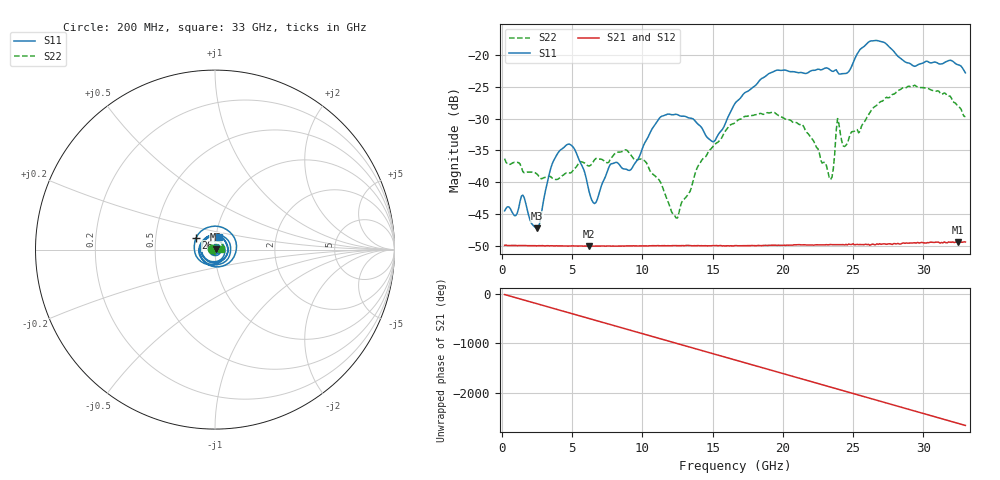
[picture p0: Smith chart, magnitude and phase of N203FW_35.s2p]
# GHZ S RI R 50
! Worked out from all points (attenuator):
!   329 points, 200 MHz to 33 GHz, reference 50 ohm
!   highest |S21| = -49.41 dB at 32.5 GHz (marker M1); lowest = -50.1 dB at 6.2 GHz (marker M2)
!   lowest |S11| = -47.3 dB at 2.5 GHz (marker M3), VSWR 1.01, Z = 50.4 + j0.235 ohm
!   |S11| at or under -10 dB: start of sweep to end of sweep
!   |S22| runs from -45.7 to -24.7 dB; largest |S21 - S12| = 8.8e-05
!   S11 on the Smith chart (normalised r, x): 200 MHz: 1.01, +0.00; 26 GHz: 0.80, +0.11; 33 GHz: 1.03, +0.14
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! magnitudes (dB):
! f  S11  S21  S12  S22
! 200 MHz  -44.5  -50.0  -49.9  -36.3
! 1.5 GHz  -42.1  -50.0  -50.0  -38.3
! 2.5 GHz  -47.3  -50.0  -50.0  -38.7
! 4 GHz  -35.4  -50.1  -50.0  -39.5
! 5.7 GHz  -37.4  -50.1  -50.1  -36.8
! 6.2 GHz  -41.4  -50.1  -50.1  -37.5
! 6.6 GHz  -43.4  -50.1  -50.1  -36.5
! 7.7 GHz  -37.3  -50.1  -50.1  -36.5
! 8.8 GHz  -37.9  -50.1  -50.1  -34.9
! 11.2 GHz  -30.0  -50.0  -50.0  -39.7
! 12.5 GHz  -29.4  -50.0  -50.0  -45.7
! 15.1 GHz  -33.6  -50.0  -50.0  -34.1
! 16.6 GHz  -27.6  -50.0  -50.0  -30.6
! 19.3 GHz  -22.6  -49.9  -49.9  -28.9
! 22.1 GHz  -22.4  -49.9  -49.9  -33.2
! 23.4 GHz  -22.4  -49.8  -49.8  -39.6
! 23.9 GHz  -22.7  -49.9  -49.9  -30.0
! 24.4 GHz  -22.9  -49.9  -49.8  -34.4
! 26 GHz  -18.1  -49.9  -49.8  -29.7
! 27.6 GHz  -18.7  -49.7  -49.7  -26.7
! 32.5 GHz  -21.5  -49.4  -49.4  -28.1
! 33 GHz  -22.8  -49.4  -49.5  -29.7
